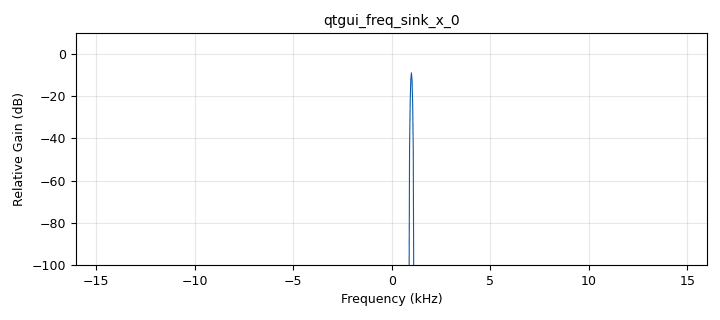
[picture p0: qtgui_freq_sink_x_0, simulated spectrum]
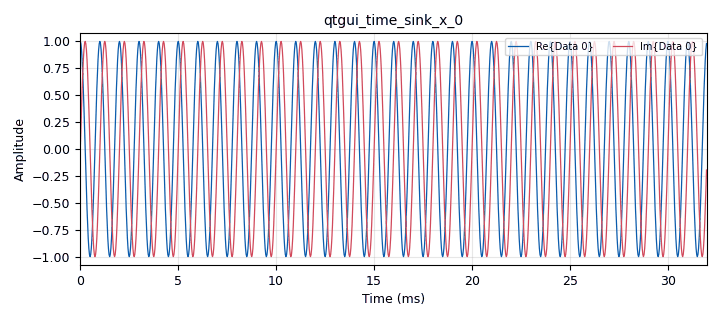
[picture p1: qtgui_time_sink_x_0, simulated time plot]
options:
  parameters:
    author: valiha
    generate_options: qt_gui
    id: lesson2
    output_language: python
    title: Not titled yet
  states: {}

blocks:
- name: samp_rate
  id: variable
  parameters:
    value: 32e3
  states: {}
- name: analog_sig_source_x_0
  id: analog_sig_source_x
  parameters:
    amp: '1'
    freq: '1000'
    offset: '0'
    phase: '0'
    samp_rate: samp_rate
    type: complex
    waveform: analog.GR_COS_WAVE
  states: {}
- name: blocks_throttle2_0
  id: blocks_throttle2
  parameters:
    samples_per_second: samp_rate
    type: complex
  states: {}
- name: qtgui_freq_sink_x_0
  id: qtgui_freq_sink_x
  parameters:
    bw: samp_rate
    fc: '0'
    fftsize: '1024'
    grid: 'True'
    type: complex
    ymin: '-100'
  states: {}
- name: qtgui_time_sink_x_0
  id: qtgui_time_sink_x
  parameters:
    ctrlpanel: 'True'
    grid: 'True'
    size: '1024'
    srate: samp_rate
    style1: '3'
    type: complex
  states: {}

connections:
- [analog_sig_source_x_0, '0', blocks_throttle2_0, '0']
- [blocks_throttle2_0, '0', qtgui_freq_sink_x_0, '0']
- [blocks_throttle2_0, '0', qtgui_time_sink_x_0, '0']

metadata:
  file_format: 1
  grc_version: 3.10.9.2
